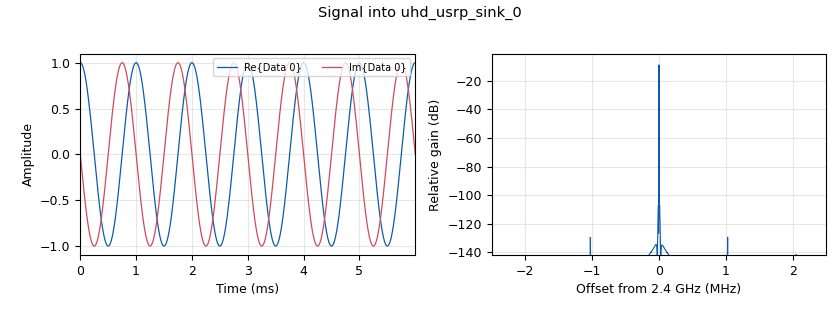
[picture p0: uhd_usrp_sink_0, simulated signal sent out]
options:
  parameters:
    generate_options: qt_gui
    id: usrp_tx_fmcomms3_rx
    output_language: python
    title: Not titled yet
  states: {}

blocks:
- name: samp_rate
  id: variable
  parameters:
    value: '5000000'
  states: {}
- name: analog_sig_source_x_0
  id: analog_sig_source_x
  parameters:
    amp: '1'
    freq: '-1e3'
    offset: '0'
    phase: '0'
    samp_rate: samp_rate
    type: complex
    waveform: analog.GR_COS_WAVE
  states: {}
- name: iio_fmcomms2_sink_0
  id: iio_fmcomms2_sink
  parameters:
    attenuation1: '0'
    bandwidth: '20000000'
    buffer_size: '32768'
    cyclic: 'False'
    filter_source: '''Auto'''
    frequency: '2400000000'
    rf_port_select: '''A'''
    samplerate: samp_rate
    tx1_en: 'True'
    tx2_en: 'False'
    type: fc32
    uri: ip:192.168.20.2
  states: {state: disabled}
- name: iio_fmcomms2_source_0
  id: iio_fmcomms2_source
  parameters:
    bandwidth: '20000000'
    bbdc: 'True'
    buffer_size: '32768'
    filter_source: '''Auto'''
    frequency: '2400000000'
    gain1: '''manual'''
    manual_gain1: '27'
    quadrature: 'True'
    rf_port_select: '''A_BALANCED'''
    rfdc: 'True'
    rx1_en: 'True'
    rx2_en: 'False'
    samplerate: samp_rate
    type: fc32
    uri: ip:192.168.20.2
  states: {}
- name: qtgui_sink_x_0
  id: qtgui_sink_x
  parameters:
    bw: samp_rate
    fc: '0'
    fftsize: '1024'
    type: complex
  states: {}
- name: uhd_usrp_sink_0
  id: uhd_usrp_sink
  parameters:
    ant0: '"TX/RX"'
    center_freq0: 2400e6
    dev_addr: '"serial=323573C"'
    gain0: '1'
    gain_type0: normalized
    otw: sc16
    samp_rate: samp_rate
    sync: none
    type: fc32
  states: {}

connections:
- [analog_sig_source_x_0, '0', iio_fmcomms2_sink_0, '0']
- [analog_sig_source_x_0, '0', uhd_usrp_sink_0, '0']
- [iio_fmcomms2_source_0, '0', qtgui_sink_x_0, '0']

metadata:
  file_format: 1
